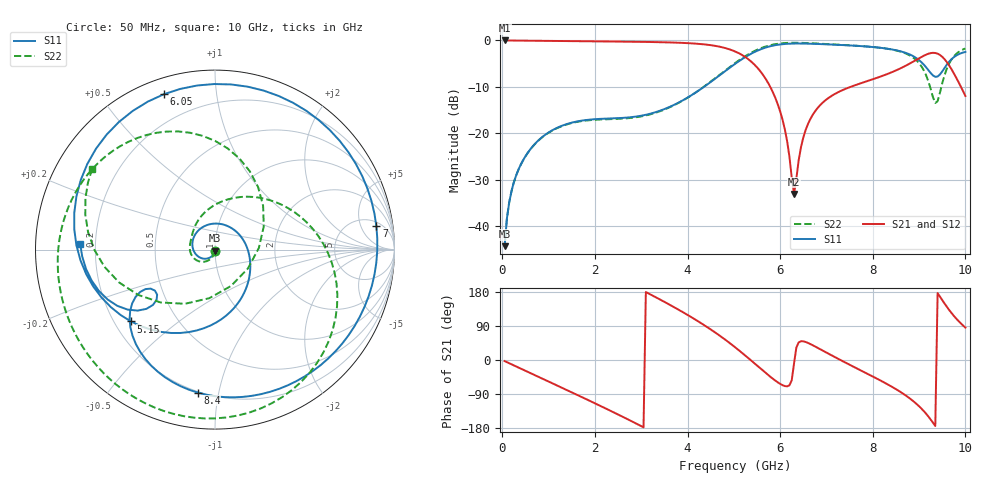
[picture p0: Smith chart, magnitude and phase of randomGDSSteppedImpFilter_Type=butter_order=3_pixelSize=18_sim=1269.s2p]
! freq	dB(S11)	phase(S11)	dB(S12)	phase(S12)
!  dB(S21)	phase(S21)	dB(S22)	phase(S22)
!S-par simulation data
#  GHz  S  DB  R 50
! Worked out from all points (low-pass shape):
!   200 points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, 50 MHz to 10 GHz, reference 50 ohm
!   highest |S21| = 0.00 dB at 50 MHz (marker M1); lowest = -33.1 dB at 6.3 GHz (marker M2)
!   |S21| within 3 dB of the highest: start of sweep to 5.154 GHz; 9.166 GHz to 9.428 GHz (262.1 MHz wide, 2.82 % of centre)
!   lowest |S11| = -44.3 dB at 50 MHz (marker M3), VSWR 1.01, Z = 50 - j0.604 ohm
!   |S11| at or under -10 dB: start of sweep to 4.356 GHz
!   |S22| runs from -44.3 to -0.5 dB; largest |S21 - S12| = 0
!   S11 on the Smith chart (normalised r, x): 50 MHz: 1.00, -0.01; 5.15 GHz: 0.27, -0.35; 6.05 GHz: 0.07, +0.72; 7 GHz: 6, +10; 8.4 GHz: 0.19, -0.87; 10 GHz: 0.14, +0.02
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0.05  -44.35 -93.7  -0.00 -2.9  -0.00 -2.9  -44.35 -92.8
0.2  -32.43 -104.7  -0.02 -11.4  -0.02 -11.4  -32.43 -101.0
0.5  -24.97 -124.9  -0.04 -28.5  -0.04 -28.5  -24.99 -115.2
1.75  -17.23 147.1  -0.18 -99.7  -0.18 -99.7  -17.34 -169.6
2.65  -16.66 72.8  -0.26 -152.9  -0.26 -152.9  -16.82 159.2
3.4  -15.17 8.3  -0.37 160.0  -0.37 160.0  -15.28 130.0
4.3  -10.39 -59.9  -0.79 96.6  -0.79 96.6  -10.36 70.8
5.05  -4.89 -128.4  -2.48 31.4  -2.48 31.4  -4.70 7.3
5.15  -4.21 -139.5  -2.98 21.5  -2.98 21.5  -4.01 -1.8
5.6  -1.83 165.4  -7.01 -25.2  -7.01 -25.2  -1.60 -43.3
6.05  -0.81 108.3  -17.03 -66.3  -17.03 -66.3  -0.60 -82.0
6.3  -0.67 78.6  -33.11 -9.1  -33.11 -9.1  -0.50 -100.6
6.7  -0.72 36.2  -16.08 39.2  -16.08 39.2  -0.61 -126.4
7  -0.83 8.3  -12.72 19.5  -12.72 19.5  -0.77 -143.4
7.7  -1.19 -47.4  -9.37 -24.9  -9.37 -24.9  -1.18 179.8
8.35  -1.83 -93.4  -7.10 -66.2  -7.10 -66.2  -1.85 142.7
8.4  -1.91 -97.0  -6.90 -69.7  -6.90 -69.7  -1.93 139.4
8.9  -3.54 -133.7  -4.41 -111.1  -4.41 -111.1  -3.91 96.2
9.25  -7.02 -150.4  -2.73 -157.0  -2.73 -157.0  -10.44 25.4
9.4  -7.78 -142.1  -2.85 176.6  -2.85 176.6  -13.09 -66.4
9.55  -5.93 -139.2  -4.05 149.0  -4.05 149.0  -7.48 -135.9
10  -2.47 177.5  -11.97 85.4  -11.97 85.4  -1.73 146.6
